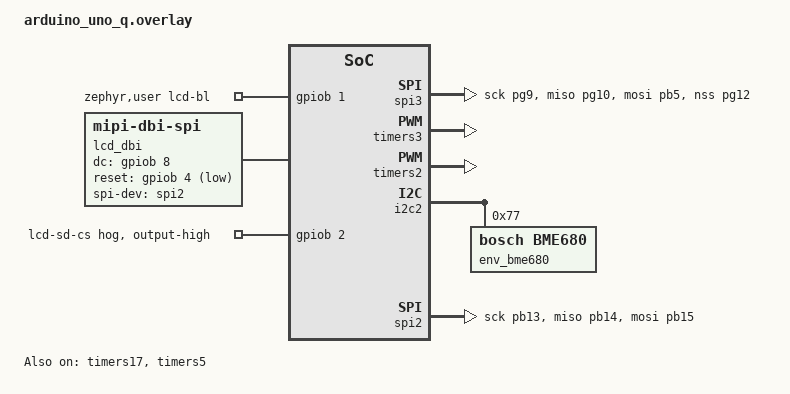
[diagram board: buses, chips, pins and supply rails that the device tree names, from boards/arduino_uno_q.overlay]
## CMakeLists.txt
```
# Copyright (c) 2026 Jim Wyatt
# SPDX-License-Identifier: MIT
cmake_minimum_required(VERSION 3.20.0)
# The BME680's I2C address, into the overlay's preprocessor (see `app env` in
# boards/arduino_uno_q.overlay): 0x77 unless the build says otherwise, with
#   mcu/zbuild.sh -- -DUNOQ_BME680_ADDR=0x76
# A cache variable, so it holds for that build directory until a pristine one.
set(UNOQ_BME680_ADDR 0x77 CACHE STRING "I2C address of the BME680 on i2c2: 0x76 or 0x77")
set_property(CACHE UNOQ_BME680_ADDR PROPERTY STRINGS 0x76 0x77)
if(NOT UNOQ_BME680_ADDR MATCHES "^0x7[67]$")
  message(FATAL_ERROR "UNOQ_BME680_ADDR is ${UNOQ_BME680_ADDR}: a BME680 answers only on 0x76 or 0x77")
endif()
list(APPEND DTS_EXTRA_CPPFLAGS -DUNOQ_BME680_ADDR=${UNOQ_BME680_ADDR})
find_package(Zephyr REQUIRED HINTS $ENV{ZEPHYR_BASE})
project(hybrid_link)
target_sources(app PRIVATE src/main.c src/matrix.c src/bars.c src/status_leds.c src/templog.c
		   src/guard.c src/spi_link.c src/spi_proto.c src/jitter.c src/scope.c src/scope_hw.c)
# `app env`: the pure half is also compiled by mcu/tests/env/.
target_sources(app PRIVATE src/env.c src/env_sensor.c)
# `app lcd`: the pure half is also compiled by mcu/tests/lcd/.
target_sources(app PRIVATE src/lcd.c src/lcd_hw.c)
# app_proto.h holds the MPU <-> MCU contract, shared with mcu/tests/, and
# bars.c, templog.c, spi_proto.c, jitter.c and scope.c are compiled a second time by
# mcu/tests/ to run on the host.
target_include_directories(app PRIVATE include)
```

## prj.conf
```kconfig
# Copyright (c) 2026 Jim Wyatt
# SPDX-License-Identifier: MIT
# --- MPU <-> MCU link -------------------------------------------------------
CONFIG_GPIO=y
CONFIG_SERIAL=y
CONFIG_CONSOLE=y
CONFIG_UART_CONSOLE=y
CONFIG_PRINTK=y

# --- Interactive shell on the same UART the MPU reads (lpuart1) -------------
CONFIG_SHELL=y
CONFIG_SHELL_BACKEND_SERIAL=y
CONFIG_SHELL_PROMPT_UART="unoq:~$ "

# Built-in command sets: poke hardware without rebuilding.
CONFIG_GPIO_SHELL=y
CONFIG_I2C=y
CONFIG_I2C_SHELL=y
CONFIG_DEVICE_SHELL=y
CONFIG_KERNEL_SHELL=y

# --- SMP / MCUmgr over the shell transport ----------------------------------
# One UART serves console + shell + SMP, so SMP is multiplexed over the shell
# rather than claiming its own port.
# MCUMGR_TRANSPORT_SHELL needs these four or it silently disables itself
CONFIG_BASE64=y
CONFIG_CRC=y
CONFIG_NET_BUF=y
CONFIG_ZCBOR=y
CONFIG_MCUMGR=y
CONFIG_MCUMGR_TRANSPORT_SHELL=y
CONFIG_MCUMGR_GRP_OS=y
CONFIG_MCUMGR_GRP_OS_MCUMGR_PARAMS=y
CONFIG_MCUMGR_GRP_OS_TASKSTAT=y
CONFIG_MCUMGR_GRP_STAT=y
CONFIG_STATS=y
CONFIG_STATS_NAMES=y

CONFIG_MAIN_STACK_SIZE=2048

# --- 8x13 LED matrix --------------------------------------------------------
# Charlieplexed on PF0..PF10, refreshed from a TIM17 counter callback at 100kHz.
# See mcu/app/src/matrix.c and boards/arduino_uno_q.overlay.
CONFIG_COUNTER=y

# --- Die temperature: `app temp` --------------------------------------------
# The STM32U585's internal temperature sensor, which Linux has no view of.
# The board file already marks the sensor and adc1 "okay", so this is all it
# takes: SENSOR is the subsystem, and with it on STM32_TEMP defaults to y and
# selects ADC by itself. Both are written out anyway, so that the dependency
# is visible here and a Zephyr that changes a default fails loudly.
CONFIG_SENSOR=y
CONFIG_STM32_TEMP=y
CONFIG_ADC=y
# The board file also enables a Vref and a Vbat sensor, and their drivers
# default to y the moment SENSOR is on. Nothing here reads them.
CONFIG_STM32_VREF=n
CONFIG_STM32_VBAT=n

# --- Persistent storage in storage_partition (128K, previously unused) ------
# Holds one byte: the panel orientation set by `app matrix flip`.
CONFIG_FLASH=y
CONFIG_FLASH_MAP=y
CONFIG_NVS=y
CONFIG_SETTINGS=y
CONFIG_SETTINGS_NVS=y

# --- MCUboot: app becomes a signed image in slot0, updatable over SMP -------
CONFIG_BOOTLOADER_MCUBOOT=y
# The bootloader refuses an image older than the running one (mcu/mcuboot.conf).
# Said here too so the app reports it: SMP's bootloader info says what MCUboot
# will and will not do, and a tool reading it should not have to guess.
CONFIG_MCUBOOT_BOOTLOADER_NO_DOWNGRADE=y
CONFIG_MCUMGR_GRP_IMG=y
CONFIG_IMG_MANAGER=y
CONFIG_STREAM_FLASH=y
CONFIG_IMG_ERASE_PROGRESSIVELY=y
CONFIG_MCUMGR_GRP_OS_BOOTLOADER_INFO=y

# --- The MCU's own watchdog: guard.c, `app reset`, `app hang yes` -----------
# The IWDG, which the board file already marks "okay" and aliases watchdog0.
# With WATCHDOG on, IWDG_STM32 defaults to y. HWINFO is how the reset cause is
# read: RCC's reset flags, through hwinfo_stm32.c. See mcu/app/include/guard.h.
CONFIG_WATCHDOG=y
CONFIG_HWINFO=y

# --- The SPI link to Linux: spi_link.c, spi_proto.h -------------------------
# spi3 is the MCU's end of /dev/spidev0.0, and Linux is the master, so the MCU
# is a slave. The board file already marks spi3 "okay" (the overlay says so
# again, where it can be read). SPI_SLAVE is what lets the driver take
# SPI_OP_MODE_SLAVE; SPI_STM32_INTERRUPT is what lets a slave wait for Linux
# without spinning: polled, the transfer would busy-loop until the master
# clocked, and the shell, the panel and the watchdog's feeder would starve.
CONFIG_SPI=y
CONFIG_SPI_SLAVE=y
CONFIG_SPI_STM32_INTERRUPT=y

# --- Jitter: `app jitter`, jitter.c, jitter.h -------------------------------
# PWM out on D3 from TIM3, the same square wave captured on D2 by TIM2, and
# TIM5 as the 1 MHz clock the ticks are timestamped by (through COUNTER,
# already on for the panel). See the overlay for the timers and pins.
# PWM_CAPTURE is what gives the STM32 PWM driver its input-capture half, and
# with it the timer interrupt the period callback runs from.
CONFIG_PWM=y
CONFIG_PWM_CAPTURE=y

# --- The scope: `app scope`, scope.c, scope_hw.c, scope.h -------------------
# DAC1 and ADC1 on PA4 (A0), paced by TIM6 and TIM7, with the data moved by
# GPDMA1, which the board file already marks "okay"; DMA is what builds its
# driver. The DAC, the timers and the ADC's trigger are set with STM32Cube LL
# from scope_hw.c, because Zephyr's DAC and ADC drivers have no timer trigger
# or DMA burst. CONFIG_DAC stays off: its driver would claim DAC1 too.
CONFIG_DMA=y

# --- The air around the board: `app env`, env.c, env_sensor.c ---------------
# A BME680 breakout on the header's I2C (i2c2), declared in the overlay. With
# a bosch,bme680 node enabled BME680 defaults to y and selects I2C (already on
# above, for the shell); SENSOR is already on for the die temperature. Both
# are written out for the same reason as STM32_TEMP. The firmware boots and
# builds the same with no breakout fitted: the driver's init fails, and
# `app env` reports that instead of a reading.
CONFIG_SENSOR=y
CONFIG_BME680=y

# --- The LCD: `app lcd`, lcd.c, lcd_hw.c, lcd.h -----------------------------
# A 320x480 ST7796S panel on spi2, as the master this time: SPI is already on
# for the link to Linux, and the overlay's zephyr,mipi-dbi-spi node is what
# builds MIPI_DBI_SPI. DISPLAY is the menu the ST7796S driver sits under; the
# driver itself, and GPIO_HOGS for the SD card's chip select, follow from the
# devicetree.
CONFIG_DISPLAY=y
```

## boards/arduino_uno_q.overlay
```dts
/*
 * Copyright (c) 2026 Jim Wyatt
 * SPDX-License-Identifier: MIT
 *
 * Route the Zephyr console to lpuart1 (PG7/PG8, with RTS/CTS) - the UART
 * physically wired to the Linux MPU, where it appears as /dev/ttyHS1.
 * usart1 (PB6/PB7) is the Arduino-header UART and is NOT the MPU link.
 */
/ {
	chosen {
		zephyr,console = &lpuart1;
		zephyr,shell-uart = &lpuart1;
	};
};

/*
 * The 8x13 LED panel. Upstream Zephyr's board does not describe it at all -
 * the wiring is only recorded in Arduino's core - so both halves are declared
 * here: the port the 104 LEDs are charlieplexed across, and the timer that
 * paces the refresh. See mcu/app/src/matrix.c.
 */

/* PF0..PF10 carry the panel. Enabling the port is what turns its clock on;
 * matrix.c then drives MODER/BSRR directly, because the pins have to change
 * direction every 10us. Nothing else in this build may claim PF0..PF10.
 */
&gpiof {
	status = "okay";
};

/* TIM17 is otherwise unused here, and is the timer Arduino's own firmware
 * picks for this job. Prescaler 4 divides the timer clock by 5, which leaves
 * counter_us_to_ticks() plenty of resolution for a 10us slot.
 */
&timers17 {
	status = "okay";
	st,prescaler = <4>;

	counter_matrix: counter {
		status = "okay";
	};
};

/*
 * The die temperature sensor behind `app temp` needs nothing here: Zephyr's
 * board file already sets die_temp and the ADC it is read through (adc1,
 * internal channel 19) to "okay". What it also enables is adc4, for a Vbat
 * sensor this firmware does not build (CONFIG_STM32_VBAT=n in prj.conf).
 *
 * Turning the ADC driver on brings up every enabled ADC at boot, and on this
 * chip that bring-up waits for the converter's regulator in a loop with no
 * timeout. One such wait is the price of the temperature; a second, for a
 * converter nothing reads, is only another way for the board not to boot.
 */
&adc4 {
	status = "disabled";
};

/*
 * The SPI link to Linux. spi3's four pins - SCK PG9, MISO PG10, MOSI PB5, NSS
 * PG12 - are wired to the MPU's spi@4a94000, which Linux shows as
 * /dev/spidev0.0; docs/reference/hardware.md has the experiment that found
 * them. Linux is the master. The board file already enables spi3 with exactly
 * this pinctrl; it is restated here because spi_link.c depends on it, and on
 * NSS being the hardware pin rather than a GPIO chip select.
 */
&spi3 {
	status = "okay";
	pinctrl-0 = <&spi3_sck_pg9 &spi3_miso_pg10 &spi3_mosi_pb5 &spi3_nss_pg12>;
	pinctrl-names = "default";
};

/*
 * `app jitter` (main.c, jitter.h): three general-purpose timers, none of
 * which the board file or anything above enables. All three count the APB1
 * timer clock, 160 MHz (sysclk 160 MHz, APB1 prescaler 1), divided by
 * st,prescaler + 1.
 *
 * Header pins, from Zephyr's arduino_r3_connector.dtsi: D2 is PB3 and D3 is
 * PB0. Neither is in the panel's PF0..PF10, spi3's PG9/PG10/PB5/PG12,
 * lpuart1's PG5..PG8, usart1's PB6/PB7, i2c2's PB10/PB11, spi2's
 * PB13/PB14/PB15/PB9, or the status LEDs' PH10..PH15. PB3 comes out of reset
 * as JTDO/TRACESWO; debugging here is SWD on PA13/PA14, which does not use
 * it.
 */

/* TIM5: a free-running 32-bit counter at 1 MHz, so one count is one
 * microsecond and the counter wraps every 71.6 minutes. The tick timestamps.
 * The kernel's own cycle counter is LPTIM1 on the 32768 Hz crystal (the
 * board's stm32_lp_tick_source), about 30 us a count. */
&timers5 {
	status = "okay";
	st,prescaler = <159>;

	counter_jitter: counter {
		status = "okay";
	};
};

/* TIM3: PWM out on D3 (PB0, TIM3_CH3). TIM3 is 16-bit, and counting at 1 MHz
 * its longest period is 65535 us, which is APP_JITTER_PWM_HZ_MIN's reason. */
&timers3 {
	status = "okay";
	st,prescaler = <159>;

	pwm_jitter_out: pwm {
		status = "okay";
		pinctrl-0 = <&tim3_ch3_pb0>;
		pinctrl-names = "default";
	};
};

/* TIM2: PWM capture in on D2 (PB3, TIM2_CH2), at the full 160 MHz so a
 * period is measured to 6.25 ns. TIM2 is 32-bit, so a period up to 26.8 s
 * fits. Capture on channel 2 uses the slave-mode controller to reset the
 * counter on each rising edge, and channel 1 as its pair, internally: only
 * PB3 is taken. */
&timers2 {
	status = "okay";
	st,prescaler = <0>;

	pwm_jitter_in: pwm {
		status = "okay";
		pinctrl-0 = <&tim2_ch2_pb3>;
		pinctrl-names = "default";
	};
};

/* Without the jumper, D2 is held low rather than left to float, so the
 * capture sees no edges and the pwm histogram stays empty instead of filling
 * with noise. */
&tim2_ch2_pb3 {
	bias-pull-down;
};

/*
 * `app scope` (scope.h, scope_hw.c): a wave out of A0 and sampled back in.
 * Nothing here changes for it; this says what it takes, and why the board
 * file already has it.
 *
 *   PA4   header A0, and both dac1_out1_pa4 (&dac1's pinctrl) and
 *         adc1_in9_pa4 (&adc1's). The ADC driver puts it in analog mode at
 *         boot, which is also what the DAC needs. Not in the panel's
 *         PF0..PF10, spi3's PG9/PG10/PB5/PG12, lpuart1's PG5..PG8, usart1's
 *         PB6/PB7, i2c2's PB10/PB11, spi2's PB13/PB14/PB15/PB9, the status
 *         LEDs' PH10..PH15, or jitter's PB0/PB3.
 *   dac1  "okay" in the board file. CONFIG_DAC is off, so no driver binds
 *         it, and scope_hw.c drives it with LL.
 *   adc1  shared with the die temperature, which the ADC driver reads; a
 *         capture borrows it under adc1_lock (see scope_hw.c).
 *   TIM6  the ADC's trigger; TIM7 the DAC's. Basic timers, left "disabled"
 *         here because no Zephyr driver is to have them: scope_hw.c turns on
 *         their clocks from their nodes' `clocks` and programs them with LL.
 *         Not TIM2, TIM3 or TIM5 (jitter) or TIM17 (the panel).
 *   gpdma1  "okay" in the board file; channels 14 (ADC) and 15 (DAC).
 */

/*
 * `app env` (env.h, env_sensor.c): a BME680 breakout on the header's I2C,
 * i2c2, which Zephyr's board file already enables at 400 kHz on SCL PB10 and
 * SDA PB11 - the two pins past AREF, also labeled SCL and SDA on the board.
 *
 * The part answers on 0x76 with its SDO pin low and 0x77 with it high. This
 * declares 0x77, the address Adafruit's and SparkFun's breakouts ship at and
 * Bosch's and Adafruit's libraries default to. Pimoroni's, and many of the
 * unbranded boards, tie SDO low instead and answer on 0x76; several move with
 * a solder jumper. `i2c scan i2c@40005800` in the MCU's shell says which.
 *
 * For 0x76, build with the CMake variable mcu/app/CMakeLists.txt passes in
 * here, which sticks in that build directory until a pristine build:
 *
 *   mcu/zbuild.sh -- -DUNOQ_BME680_ADDR=0x76
 *
 * Anything but the two addresses the part has stops the build. With no
 * breakout fitted the driver's init fails, the device is not ready, and
 * `app env` says so; nothing else changes.
 */
#ifndef UNOQ_BME680_ADDR
#define UNOQ_BME680_ADDR 0x77
#endif

&i2c2 {
#if UNOQ_BME680_ADDR == 0x76
	env_bme680: bme680@76 {
		compatible = "bosch,bme680";
		reg = <0x76>;
	};
#elif UNOQ_BME680_ADDR == 0x77
	env_bme680: bme680@77 {
		compatible = "bosch,bme680";
		reg = <0x77>;
	};
#else
#error "UNOQ_BME680_ADDR: a BME680 answers only on 0x76 or 0x77"
#endif
};

/*
 * `app lcd` (lcd.h, lcd_hw.c): a Waveshare 3.5" 320x480 touch LCD on the
 * header's SPI, spi2, with the wiring #225 records:
 *
 *   SCLK D13 PB13, MISO D12 PB14, MOSI D11 PB15   spi2, the board file's pins
 *   LCD_CS  D10 PB9    chip select, as a GPIO (below)
 *   LCD_DC  D9  PB8    data/command
 *   LCD_RST D8  PB4    the panel controller's reset
 *   SD_CS   D7  PB2    the module's microSD slot, held deselected
 *   LCD_BL  D6  PB1    the backlight, on or off
 *   TP_SDA/TP_SCL      i2c2, shared with the BME680; touch is a later step
 *   INT D4 PA12, RST D5 PA11   the touch controller's, not claimed here yet
 *
 * None of these is in the panel's PF0..PF10, spi3's PG9/PG10/PB5/PG12,
 * lpuart1's PG5..PG8, usart1's PB6/PB7, i2c2's PB10/PB11, the status LEDs'
 * PH10..PH15, jitter's PB0/PB3 or the scope's PA4. PB4 comes out of reset as
 * NJTRST, which SWD does not use. PA11/PA12 are the USB pins, and the board
 * file leaves USB disabled.
 */

/* The board file gives spi2 its hardware NSS on PB9. That pin drops between
 * transfers, and reading a register is two of them - the command, then the
 * answer - which the controller only accepts with its select held low across
 * both. So NSS leaves the pinctrl, and D10 becomes a GPIO the SPI driver
 * holds for as long as it is asked to. */
&spi2 {
	pinctrl-0 = <&spi2_sck_pb13 &spi2_miso_pb14 &spi2_mosi_pb15>;
	cs-gpios = <&gpiob 9 GPIO_ACTIVE_LOW>;
};

/* The microSD slot shares the bus. Its select is driven high from GPIO init
 * on, before anything uses spi2, so the card never answers along with the
 * panel. A hog, because nothing reads the slot yet. */
&gpiob {
	sd_cs_hog: sd-cs-hog {
		gpio-hog;
		gpios = <2 GPIO_ACTIVE_HIGH>;
		output-high;
		line-name = "lcd-sd-cs";
	};
};

/ {
	zephyr,user {
		lcd-bl-gpios = <&gpiob 1 GPIO_ACTIVE_HIGH>;
	};

	lcd_dbi: lcd-dbi {
		compatible = "zephyr,mipi-dbi-spi";
		spi-dev = <&spi2>;
		dc-gpios = <&gpiob 8 GPIO_ACTIVE_HIGH>;
		reset-gpios = <&gpiob 4 GPIO_ACTIVE_LOW>;
		#address-cells = <1>;
		#size-cells = <0>;

		/* Started from `app lcd on`, not at boot: the driver's init
		 * pulses reset and waits 200 ms, and writes to a panel it has
		 * no way to see. Deferred, a board with no LCD boots exactly as
		 * it did, and `app lcd id` can ask the controller what it is
		 * before the driver has said anything to it.
		 *
		 * 10 MHz on jumper wires. The part takes writes far faster; how
		 * much faster these wires carry is for a later step to measure.
		 * The gamma, power and timing values are NXP's for their
		 * 320x480 ST7796S (boards/shields/lcd_par_s035) - a starting
		 * point, not this panel's tuning.
		 *
		 * madctl 0x40 is portrait, mirrored in X as these panels are
		 * mounted, in RGB order. With MADCTL's BGR bit clear the driver
		 * asks for RGB565X, red's byte first, which is the order the
		 * controller reads off the wire. A BGR panel then shows red as
		 * blue; `app lcd cmd 36 48` tries BGR without a rebuild, and the
		 * lasting fix is madctl 0x48 with rgb-is-inverted, which keeps
		 * the bytes in the same order. */
		lcd_panel: st7796s@0 {
			compatible = "sitronix,st7796s";
			reg = <0>;
			mipi-max-frequency = <10000000>;
			mipi-mode = "MIPI_DBI_MODE_SPI_4WIRE";
			width = <320>;
			height = <480>;
			invert-mode = "1-dot";
			frmctl1 = [80 10];
			bpc = [1f 50 00 20];
			dfc = [8a 07 3b];
			pwr1 = [80 64];
			pwr2 = <0x13>;
			pwr3 = <0xa7>;
			vcmpctl = <0x09>;
			doca = [40 8a 00 00 29 19 a5 33];
			pgc = [f0 06 0b 07 06 05 2e 33 47 3a 17 16 2e 31];
			ngc = [f0 09 0d 09 08 23 2e 33 46 38 13 13 2c 32];
			madctl = <0x40>;
			color-invert;
			zephyr,deferred-init;
		};
	};
};
```

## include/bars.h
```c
/*
 * Copyright (c) 2026 Jim Wyatt
 * SPDX-License-Identifier: MIT
 *
 * Turning percentages into pixels.
 *
 * Deliberately free of Zephyr and of hardware: this is arithmetic, so it is
 * compiled straight into mcu/tests/bars/ and runs on the host. The half of the
 * feature that cannot be tested that way - charlieplexing PF0..PF10 from a
 * timer ISR - lives in matrix.h and stays as thin as possible.
 */
#ifndef BARS_H
#define BARS_H

#include <stdbool.h>
#include <stdint.h>

#include "app_proto.h"

/* Where n bars sit on the 13-column panel.
 *
 * Bars are uniform width with a one-column gap, and the whole group is
 * centered: leftovers show up as margin, never as one fatter bar.
 */
struct app_bars_layout {
	int width; /* columns per bar, >= 1 */
	int left;  /* blank columns before the first bar */
};

/* Compute the layout for n bars. Returns false (and leaves *out alone) if n is
 * outside 1..APP_BARS_MAX. */
bool app_bars_layout(int n, struct app_bars_layout *out);

/* Which column the i-th bar starts at, given a layout. */
static inline int app_bars_column(const struct app_bars_layout *l, int i)
{
	return l->left + i * (l->width + 1);
}

/*
 * Render n percentages as vertical bars into a APP_MATRIX_LEDS grayscale
 * framebuffer (one byte per LED, 0..APP_MATRIX_MAX_LEVEL), clearing it first.
 *
 * Height uses the grayscale as a vernier: a bar is whole rows at full
 * brightness plus one partial row dimmed in proportion to the remainder. Eight
 * rows would otherwise quantize the reading to 12.5% steps, which for a CPU
 * meter is the difference between "idle" and "a core is busy".
 *
 * rotate180 mirrors the panel for a board viewed from the other side. It is a
 * true 180-degree rotation, so bars grow the other way *and* run right-to-left,
 * which is what you want if you turned the board around rather than the image.
 *
 * pct values outside 0..APP_BARS_PCT_MAX are clamped, and n outside
 * 1..APP_BARS_MAX renders an empty frame - a display that shows nothing is a
 * better failure than one that shows a wrong number confidently.
 */
void app_bars_render(const uint8_t *pct, int n, bool rotate180, uint8_t *frame);

#endif /* BARS_H */
```

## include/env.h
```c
/*
 * Copyright (c) 2026 Jim Wyatt
 * SPDX-License-Identifier: MIT
 *
 * The air around the board: a BME680 on the header's I2C, read by `app env`.
 *
 * The part is Bosch's temperature, humidity, pressure and gas sensor, on a
 * breakout wired to SDA/SCL beside AREF (i2c2, PB11/PB10). Zephyr's driver
 * does the reading and the compensation; what is here is what the firmware
 * makes of the answer.
 *
 * TWO HALVES
 * ----------
 * env.c is pure: four sensor_values in, one reading out, and the reading to
 * the line `app env` prints. No device, no bus, no kernel object, so
 * mcu/tests/env/ runs it on native_sim. Zephyr has no emulator for this part,
 * so that is as close to the sensor as a test gets before there is one.
 *
 * env_sensor.c is the other half: the devices, the read, and the shell
 * command. It is only built into the firmware, and only proven on a board.
 *
 * The line's format is APP_ENV_FMT in app_proto.h.
 */

#ifndef ENV_H
#define ENV_H

#include <stddef.h>
#include <stdint.h>
#include <zephyr/drivers/sensor.h>

struct shell;

/* One reading, in the integer units `app env` prints. The driver's own
 * resolution is 0.01 C, 0.001 %RH, 1 Pa and 1 ohm, so none of these loses
 * anything it has. */
struct env_reading {
	int32_t temp_mc;        /* millidegrees Celsius */
	uint32_t humidity_mpct; /* thousandths of a percent relative humidity */
	uint32_t pressure_pa;   /* pascals */
	uint32_t gas_ohm;       /* the gas sensor's hot plate, in ohms */
};

/* The four channels as the driver hands them back - temperature in degrees,
 * humidity in percent, pressure in kilopascals, gas resistance in ohms - into
 * a reading. Returns 0, or -ERANGE for a value no BME680 can give: negative
 * humidity, pressure or resistance, humidity over 100 %, or a number too big
 * for its field. *out is untouched on failure, so a bad read is never half a
 * reading. */
int env_from_values(const struct sensor_value *temp, const struct sensor_value *humidity,
		    const struct sensor_value *press, const struct sensor_value *gas,
		    struct env_reading *out);

/* The reading as the APP_ENV_FMT line, NUL-terminated, without a newline.
 * Returns its length, or -ENOSPC if buf is too small for all of it (buf then
 * holds nothing). APP_ENV_LINE_MAX always fits. */
int env_format(const struct env_reading *r, char *buf, size_t len);

/* The longest line env_format() can write, with its terminator: every field
 * at its widest. */
#define APP_ENV_LINE_MAX 96

/* `app env` (env_sensor.c). */
int cmd_app_env(const struct shell *sh, size_t argc, char **argv);

/* One boot line saying whether the driver found the part, and at which
 * address, so the console shows it without anybody having to ask. */
void env_report(void);

#endif /* ENV_H */
```

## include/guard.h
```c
/*
 * Copyright (c) 2026 Jim Wyatt
 * SPDX-License-Identifier: MIT
 *
 * The MCU's own watchdog, and why the MCU last reset.
 *
 * LED 4 is the MCU watching Linux: it turns red when the MPU stops talking.
 * This is the other direction - something that resets the MCU when the MCU
 * itself stops working - and the record afterwards of why it reset, which is
 * what lets Linux tell a watchdog reset from a power cut or a firmware update.
 *
 * WHAT IS WATCHED
 * ---------------
 * The STM32's independent watchdog (IWDG) resets the chip unless it is fed
 * at least once every GUARD_TIMEOUT_MS. It runs from its own 32 kHz LSI
 * oscillator, so a stuck CPU clock does not stop it, and once started nothing
 * but a reset stops it.
 *
 * It is fed from one place: the status-LED beat, four times a second on the
 * system workqueue (status_leds.c). And only when the LED panel's refresh has
 * moved on since the previous beat, or the panel is off on purpose. So the
 * feed stops, and the chip resets eight seconds later, if:
 *
 *   - the system workqueue is stuck: a work item that never returns, or a
 *     thread that holds the scheduler locked (that is `app hang yes`)
 *   - the panel's timer interrupt has stopped while the panel is meant to be
 *     on: interrupts locked out, or the timer stopped behind matrix.c's back
 *
 * What it does not watch is the shell thread on its own. A shell command that
 * spins in a preemptible thread does not starve the workqueue, which is
 * cooperative and runs ahead of it, so the dog is still fed. LED 4 going red
 * is how that one shows: the MCU stops answering, and the MPU stops being
 * answered.
 *
 * The decision of whether to feed, and the names `app reset` prints, are the
 * two inline functions at the bottom. They touch no hardware, so
 * mcu/tests/guard/ runs them on the host.
 */
#ifndef GUARD_H
#define GUARD_H

#include <stdbool.h>
#include <stddef.h>
#include <stdint.h>
#include <string.h>

#include <zephyr/drivers/hwinfo.h>

/* THE TIMEOUT: 8 SECONDS
 * ----------------------
 * Long enough for the longest stall this firmware does on purpose, and short
 * enough that a hung MCU is back before anyone has finished wondering why the
 * panel froze.
 *
 * The longest legitimate stalls are flash operations, and every one is
 * milliseconds. The flash is 8 KiB sectors, and erasing one takes a few
 * milliseconds on this part. A FOTA upload erases slot 1 a sector at a time as
 * the image arrives (CONFIG_IMG_ERASE_PROGRESSIVELY), on the SMP thread, so
 * the workqueue still runs between sectors. Erasing the whole 416 KiB slot at
 * once is 52 sectors, a fraction of a second. A settings write (`app matrix
 * flip`) may make NVS erase one sector of its own. The 115200 link is the
 * slowest thing on the board, and the longest reply, a 32-sample temperature
 * batch, is about a tenth of a second. Eight seconds is more than ten times
 * the worst of these together.
 *
 * And it is in range. The IWDG counts LSI ticks (32 kHz) through a prescaler
 * of 4 to 1024 into a 12-bit reload, so it reaches from 125 us to about 131 s.
 * Zephyr's driver turns 8000 ms into prescaler 64 and reload 3999: 2 ms a
 * count. The LSI is an RC oscillator, good to a few percent, so the real
 * timeout is about 8 s, not exactly 8 s, which is why nothing here is cut
 * close to it.
 *
 * Compare Linux's own watchdog (provision/80-watchdog.sh): 30 s, because a
 * swapping Linux can legitimately stall for seconds. The MCU has no swap and
 * no disk, and a stall of eight seconds there is a bug.
 */
#define GUARD_TIMEOUT_MS 8000

/* The longest reset line guard_reset_names() can produce, with its NUL: every
 * name in the table plus "unknown", comma-separated. mcu/tests/guard/ checks
 * that every bit set at once still fits. */
#define GUARD_RESET_NAMES_MAX 160

/** Read why the MCU last reset, keep it for `app reset`, clear it, and arm the
 *  watchdog. Called once, at the top of main().
 *
 *  Returns 0 with the watchdog armed, or a negative errno if it is not: no
 *  device, or the driver refused the timeout. Everything else still runs
 *  either way - a board without its watchdog is no worse off than before this
 *  existed - and main() says which on the console.
 */
int guard_init(void);

/** Called on every status-LED beat. Feeds the watchdog if the panel's refresh
 *  has moved on since the last beat, or the panel is off. */
void guard_tick(void);

/** The hwinfo reset-cause bits read at boot, or 0 if they could not be read. */
uint32_t guard_reset_cause(void);

/** True if guard_init() read the reset cause; false if hwinfo could not. */
bool guard_reset_cause_known(void);

/* --- no hardware below this line ----------------------------------------- */

/** Feed on this beat?
 *
 * `panel_on` is whether the panel's refresh timer is meant to be running.
 * When it is not - before the first frame, or after `app matrix off` - the
 * sweep count stands still on purpose and says nothing, so the beat itself is
 * the evidence: it ran, so the workqueue is alive.
 *
 * When it is, the count must have moved since the previous beat. A beat is
 * 250 ms and a sweep 1.04 ms, so a healthy panel is about 240 sweeps further
 * on each time. Compared with != rather than >, so the 32-bit count wrapping
 * after 51 days is just another change.
 *
 * One beat can miss its feed when the panel has only just been switched on
 * and has not finished a sweep yet. The next beat feeds, and one missed beat
 * in thirty-two is nowhere near the timeout.
 */
static inline bool guard_should_feed(bool panel_on, uint32_t sweeps, uint32_t last_sweeps)
{
	return !panel_on || sweeps != last_sweeps;
}

/** One reset-cause bit and the word `app reset` prints for it. */
struct guard_reset_name {
	uint32_t bit;
	const char *name;
};

/* In the order they are printed: the cause that explains the reset first,
 * and "pin" last.
 *
 * Last because on the STM32 nearly every reset is also a pin reset. The chip
 * drives its own NRST pin low whatever started the reset, so RCC records the
 * pin as well: a watchdog reset reads "watchdog,pin" and a software reset
 * "software,pin". Only "pin" alone means the reset line really was pulled
 * from outside - on this board, Linux toggling it, or the debugger.
 *
 * And "power_on" is not what a power-on prints here. The STM32U5 has no
 * power-on flag of its own; its brownout flag is set when the supply comes
 * up, so applying power reads "brownout,pin". The name stays in the table for
 * the parts that do have one.
 *
 * Names are lowercase words joined by underscores: no spaces, no '=', no ','.
 * python/tests/test_contract.py reads this table, and unoq.mcu.RESET_CAUSES
 * must list the same names.
 */
static const struct guard_reset_name guard_reset_table[] = {
	{RESET_WATCHDOG, "watchdog"},
	{RESET_CPU_LOCKUP, "lockup"},
	{RESET_SOFTWARE, "software"},
	{RESET_SECURITY, "security"},
	{RESET_BROWNOUT, "brownout"},
	{RESET_POR, "power_on"},
	{RESET_LOW_POWER_WAKE, "low_power_wake"},
	{RESET_DEBUG, "debug"},
	{RESET_PARITY, "parity"},
	{RESET_PLL, "pll"},
	{RESET_CLOCK, "clock"},
	{RESET_HARDWARE, "hardware"},
	{RESET_USER, "user"},
	{RESET_TEMPERATURE, "temperature"},
	{RESET_BOOTLOADER, "bootloader"},
	{RESET_FLASH, "flash"},
	{RESET_PIN, "pin"},
};

/* No bits set. Distinct from "unknown", which is a bit this table has no
 * name for. */
#define GUARD_RESET_NONE    "none"
#define GUARD_RESET_UNKNOWN "unknown"

/** Append `name` to the list in `buf`, which holds `n` characters, if it fits
 *  whole with its comma and the NUL. Returns the new length. */
static inline size_t guard_append_name(char *buf, size_t len, size_t n, const char *name)
{
	size_t w = strlen(name);
	size_t sep = n > 0 ? 1 : 0;

	if (n + sep + w + 1 > len) {
		return n;
	}
	if (sep) {
		buf[n++] = ',';
	}
	memcpy(&buf[n], name, w + 1);
	return n + w;
}

/** Write the names of the bits set in `cause` into `buf`, comma-separated, in
 *  table order: "watchdog,pin". GUARD_RESET_NONE if no bit is set, and
 *  GUARD_RESET_UNKNOWN once, last, for any bits the table has no name for.
 *
 *  Always NUL-terminates a buffer of at least one byte; a name that does not
 *  fit is left out whole rather than cut. GUARD_RESET_NAMES_MAX always fits.
 *  Returns the length written.
 */
static inline size_t guard_reset_names(uint32_t cause, char *buf, size_t len)
{
	size_t n = 0;
	uint32_t named = 0;

	if (len == 0) {
		return 0;
	}
	buf[0] = '\0';

	for (size_t i = 0; i < sizeof(guard_reset_table) / sizeof(guard_reset_table[0]); i++) {
		named |= guard_reset_table[i].bit;
		if ((cause & guard_reset_table[i].bit) != 0) {
			n = guard_append_name(buf, len, n, guard_reset_table[i].name);
		}
	}
	if ((cause & ~named) != 0) {
		n = guard_append_name(buf, len, n, GUARD_RESET_UNKNOWN);
	}
	if (cause == 0) {
		n = guard_append_name(buf, len, n, GUARD_RESET_NONE);
	}
	return n;
}

#endif /* GUARD_H */
```

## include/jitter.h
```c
/*
 * Copyright (c) 2026 Jim Wyatt
 * SPDX-License-Identifier: MIT
 *
 * Jitter, measured: the MCU times what Linux schedules.
 *
 * The course says the MCU is there because Linux cannot keep time. This is
 * where that stops being asserted. Linux sends `app jitter tick` on a fixed
 * schedule, and the MCU writes down how far each arrival was from where the
 * schedule said it would be. Beside it, the same record for a square wave
 * the MCU's own timers make and measure, with no software in the path: what
 * "keeping time" looks like when it is done in hardware.
 *
 * TWO HALVES
 * ----------
 * This file is the record: a histogram of deviations (struct jitter_hist)
 * and the bookkeeping that turns arrival timestamps into deviations (struct
 * jitter_ticker). It touches no hardware and no kernel object but a
 * spinlock, so mcu/tests/jitter/ runs it on native_sim with made-up
 * timestamps, wraparound included.
 *
 * The clocks are main.c's: TIM5 as a 1 MHz free-running counter for the
 * tick timestamps, TIM3 for the PWM out on D3 and TIM2's capture on D2. See
 * boards/arduino_uno_q.overlay, and app_proto.h for the shell formats and
 * the bins.
 */

#ifndef JITTER_H
#define JITTER_H

#include <stdbool.h>
#include <stddef.h>
#include <stdint.h>
#include <zephyr/spinlock.h>

#include "app_proto.h"

/* Deviations of measured intervals from an expected period. Added to from an
 * interrupt (the capture callback) as well as from the shell's thread, hence
 * the lock. About 80 bytes. */
struct jitter_hist {
	uint32_t bins[APP_JITTER_BINS];
	uint32_t n;
	int32_t min_ns;
	int32_t max_ns;
	int64_t sum_ns;
	struct k_spinlock lock;
};

/* What jitter_hist_read() copies out: one consistent look at a histogram. */
struct jitter_summary {
	uint32_t bins[APP_JITTER_BINS];
	uint32_t n;
	int32_t min_ns;
	int32_t max_ns;
	int32_t mean_ns; /* sum / n, rounded toward zero; 0 when n is 0 */
};

/* The tick half: arrivals on a microsecond counter, against an armed period. */
struct jitter_ticker {
	struct jitter_hist hist;
	uint32_t period_us; /* what each interval is held to; kept after a stop */
	uint32_t last_us;   /* the previous arrival, if have_last */
	bool armed;
	bool have_last;
};

/** The bin a deviation of `dev_ns` goes in, 0..APP_JITTER_BINS - 1, by the
 *  rule in app_proto.h. */
int jitter_bin(int32_t dev_ns);

/** `ns` clamped to the range of an int32. */
int32_t jitter_clamp_ns(int64_t ns);

/** Empty a histogram, under its lock, so it is safe while the capture
 *  interrupt is adding to it. One that has never been used - static, so
 *  zeroed - is already empty and needs no call. */
void jitter_hist_clear(struct jitter_hist *h);

/** Count one deviation, clamped as jitter_clamp_ns() does. */
void jitter_hist_add(struct jitter_hist *h, int64_t dev_ns);

/** Copy a histogram out, all of it under the lock. */
struct jitter_summary jitter_hist_read(struct jitter_hist *h);

/** Write the bins as `a,b,...` - the bins= value of APP_JITTER_FMT - into
 *  buf. Returns the length written, or -ENOSPC if buf is too small, in which
 *  case buf holds an empty string. JITTER_BINS_STR_MAX is always enough. */
#define JITTER_BINS_STR_MAX (APP_JITTER_BINS * 11)
int jitter_format_bins(const uint32_t *bins, char *buf, size_t cap);

/** Set the expected period, empty the histogram, forget the last arrival and
 *  take ticks: the next one starts a new run rather than closing an interval
 *  that began before the arm. */
void jitter_ticker_arm(struct jitter_ticker *t, uint32_t period_us);

/** Take no more ticks. The histogram and the period stay, to be read; the
 *  next arm clears them. */
void jitter_ticker_stop(struct jitter_ticker *t);

/** One arrival at `now_us` on the free-running counter. The first after
 *  arming only sets the start; each after it adds one deviation. The counter
 *  is 32 bits and wraps every 71.6 minutes; the interval is taken modulo
 *  2^32, so one wrap between two ticks is harmless.
 *  Returns 0, or -EAGAIN if not armed (nothing recorded). */
int jitter_ticker_tick(struct jitter_ticker *t, uint32_t now_us);

#endif /* JITTER_H */
```

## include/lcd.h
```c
/*
 * Copyright (c) 2026 Jim Wyatt
 * SPDX-License-Identifier: MIT
 *
 * A 3.5" 320x480 touch LCD on the header's SPI, run by `app lcd` (#225).
 *
 * The module is Waveshare's, wired to spi2 on D10..D13 with its control lines
 * on D6..D9 - boards/arduino_uno_q.overlay has the pins. Its panel controller
 * is most likely a Sitronix ST7796S, which Zephyr drives over MIPI DBI on
 * SPI, and its touch controller a FocalTech FT6336U at 0x38 on i2c2, which
 * this step does not use yet.
 *
 * TWO HALVES
 * ----------
 * lcd.c is pure: a color's name to the 16 bits the panel takes, those bits
 * to bytes on the wire, the ID registers' raw bytes to a controller's name,
 * and the lines `app lcd` prints. mcu/tests/lcd/ runs it on native_sim.
 *
 * lcd_hw.c is the other half: the bus, the driver, the backlight and the
 * shell command. It is only built into the firmware, and only proven on a
 * board.
 *
 * The lines' formats are APP_LCD_* in app_proto.h.
 */

#ifndef LCD_H
#define LCD_H

#include <stdbool.h>
#include <stddef.h>
#include <stdint.h>

struct shell;

/* The controller's commands this file uses by number. */
#define LCD_CMD_RDDID 0x04 /* read display ID: a dummy bit, then 24 bits */
#define LCD_CMD_RDID4 0xD3 /* read ID4: a dummy byte, then 00 77 96 on an ST7796S */

/* Bytes read back after each ID command. Four, so that whichever dummy the
 * part puts first - a bit, or a whole byte - the ID still fits. */
#define LCD_ID_LEN 4

struct lcd_id {
	uint8_t rddid[LCD_ID_LEN];
	uint8_t id4[LCD_ID_LEN];
};

/* A color by name (black, white, red, green, blue, yellow, cyan, magenta)
 * or as six hex digits, rrggbb, into RGB565: red in the top five bits, then
 * six of green, then five of blue. Anything else is false, and *out is
 * untouched. */
bool lcd_parse_color(const char *s, uint16_t *out);

/* One or two hex digits, nothing else, into a byte: `app lcd cmd`'s
 * arguments. */
bool lcd_parse_byte(const char *s, uint8_t *out);

/* RGB565 as the two bytes the bus carries, in the order the driver says it
 * wants: big-endian (red first) when msb_first, as PIXEL_FORMAT_RGB_565X
 * asks, little-endian otherwise. */
void lcd_pack565(uint16_t c, bool msb_first, uint8_t out[2]);

/* Where a 16-bit ID starts in raw, counted in bits from the first byte's top
 * bit, or -1 if it is not there. Read with 8-bit words, a part that clocks
 * out one dummy bit first leaves its ID straddling bytes; this finds it at
 * any offset rather than guessing which dummy the part uses. */
int lcd_id_find(const uint8_t *raw, size_t n, uint16_t id);

/* Which controller answered: a name, "none" when every byte of both reads is
 * the same (MISO idle high or low - nothing drove it), or "unknown". *dummy
 * is lcd_id_find()'s answer for the ID that matched, or -1. */
const char *lcd_id_name(const struct lcd_id *id, int *dummy);

/* The APP_LCD_ID_FMT line, NUL-terminated, without a newline. Returns its
 * length, or -ENOSPC if buf is too small (buf then holds nothing).
 * APP_LCD_LINE_MAX always fits. */
int lcd_id_format(const struct lcd_id *id, char *buf, size_t len);

/* The longest line lcd.c can write, with its terminator. */
#define APP_LCD_LINE_MAX 80

/* `app lcd` and its subcommands (lcd_hw.c). */
int cmd_app_lcd_id(const struct shell *sh, size_t argc, char **argv);
int cmd_app_lcd_on(const struct shell *sh, size_t argc, char **argv);
int cmd_app_lcd_off(const struct shell *sh, size_t argc, char **argv);
int cmd_app_lcd_fill(const struct shell *sh, size_t argc, char **argv);
int cmd_app_lcd_cmd(const struct shell *sh, size_t argc, char **argv);

/* At boot: the backlight off, and one line saying the panel is there to be
 * started. */
void lcd_report(void);

#endif /* LCD_H */
```

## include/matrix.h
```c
/*
 * Copyright (c) 2026 Jim Wyatt
 * SPDX-License-Identifier: MIT
 *
 * The 8x13 LED panel.
 *
 * Everything hardware about the matrix is behind these five calls, so the
 * interesting half of the feature (bars.h) stays testable on the host.
 */
#ifndef MATRIX_H
#define MATRIX_H

#include <stdbool.h>
#include <stdint.h>

/* Claim the GPIO port and the refresh timer. Does not light anything and does
 * not start the ISR - the first matrix_draw() does that. Returns 0, or a
 * negative errno if the devicetree does not give us what we need. */
int matrix_init(void);

/* Show a frame: APP_MATRIX_LEDS bytes, one brightness level (0..
 * APP_MATRIX_MAX_LEVEL) per LED, row-major. The buffer is copied. */
void matrix_draw(const uint8_t *levels);

/* Stop refreshing and release the pins. matrix_draw() restarts it. */
void matrix_off(void);

/*
 * Completed refresh sweeps since boot - one per pass over all 104 LEDs.
 *
 * This is the only way to tell from the far end of a serial cable that the
 * panel is really being refreshed: nothing else about a charlieplexed display
 * is observable without looking at it. A stalled count means the timer never
 * started; a count climbing at ~962/s means the ISR is running to schedule.
 */
uint32_t matrix_sweeps(void);

/*
 * Is the refresh timer meant to be running? True from the first matrix_draw()
 * that starts it until matrix_off(). While it is, matrix_sweeps() should be
 * climbing, and the watchdog (guard.h) is fed only if it is.
 */
bool matrix_running(void);

#endif /* MATRIX_H */
```

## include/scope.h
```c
/*
 * Copyright (c) 2026 Jim Wyatt
 * SPDX-License-Identifier: MIT
 *
 * The scope: a signal generator and an oscilloscope on one pin.
 *
 * PA4 (header A0) is dac1 output 1 and adc1 channel 9 at once. The DAC plays
 * a table out of it; the ADC samples the same pin in bursts, and the MCU
 * reads its own output back with no wire. Linux asks for a burst on the
 * shell (`app scope capture`) and collects the samples over the SPI link
 * (SPI_PROTO_SCOPE), because 8 KB is too much for the serial line.
 *
 * TWO HALVES
 * ----------
 * This file and scope.c are the arithmetic: the waveform tables, the timer
 * division that turns a rate into a prescaler and a reload, and the burst's
 * bookkeeping, which decides when a burst is whole and safe to hand out.
 * None of it touches hardware, so mcu/tests/scope/ runs it on native_sim.
 *
 * scope_hw.c is the hardware, and is register-level, because Zephyr's
 * drivers stop short of it: the STM32 DAC driver writes one value at a time,
 * with no trigger and no DMA, and the STM32 ADC driver starts every
 * conversion from software, so it has no timer trigger and its DMA mode
 * fetches one sequence at a time. scope_hw.c drives TIM6, TIM7, DAC1 and
 * ADC1 with STM32Cube LL, and moves the data with Zephyr's own GPDMA driver.
 * See boards/arduino_uno_q.overlay and app_proto.h.
 */

#ifndef SCOPE_H
#define SCOPE_H

#include <stdbool.h>
#include <stddef.h>
#include <stdint.h>
#include <zephyr/kernel.h>
#include <zephyr/spinlock.h>

#include "app_proto.h"

/* --- waveforms ------------------------------------------------------------ */

enum scope_wave {
	SCOPE_WAVE_OFF,
	SCOPE_WAVE_SINE,
	SCOPE_WAVE_TRIANGLE,
};

/** The name app_proto.h gives a wave: APP_SCOPE_WAVE_OFF, _SINE, _TRIANGLE. */
const char *scope_wave_name(enum scope_wave w);

/** The wave a name means. Returns 0, or -EINVAL for anything but sine and
 *  triangle: off is not something to generate. */
int scope_wave_parse(const char *name, enum scope_wave *out);

/** Fill APP_SCOPE_POINTS DAC codes for one period, starting at the middle
 *  and rising, as a sine does. 32-bit entries because the DAC's data
 *  register is a word and the DMA moves the same width at both ends.
 *  Returns 0, or -EINVAL for SCOPE_WAVE_OFF. */
int scope_wave_fill(enum scope_wave w, uint32_t *table);

/* --- timers ---------------------------------------------------------------- */

/* A 16-bit timer's division of its clock: it counts (psc + 1) * (arr + 1)
 * clock cycles per update. */
struct scope_div {
	uint32_t psc;
	uint32_t arr;
	uint64_t rate_mhz; /* the update rate it gives, in millihertz */
};

/** The division nearest to `rate_hz` updates a second from a `clk_hz` clock,
 *  with the prescaler as small as will do, for the finest step. Returns 0,
 *  or -EINVAL if rate_hz is 0 or above clk_hz / 2. */
int scope_timer_div(uint32_t clk_hz, uint32_t rate_hz, struct scope_div *out);

/* --- bursts ---------------------------------------------------------------- */

/*
 * One buffer of samples, written by DMA during a capture and read by the SPI
 * link's thread afterwards. A reader must never see a buffer the DMA is still
 * writing, nor one a failed capture left half written, nor half of one
 * capture and half of the next; the lock and the id are how.
 *
 *   begin   valid false, busy true: from here the DMA owns the buffer
 *   end     busy false; on success valid true and a new id
 *   read    copies out under the lock, only while valid and not busy, and
 *           only from the capture the reader names
 */
struct scope_burst {
	uint16_t *buf;
	uint16_t cap;
	uint16_t n;        /* samples in the capture now held, or being taken */
	uint32_t rate_mhz; /* its sample rate, in millihertz */
	uint32_t id;       /* the last good capture, 1, 2, ...; 0 before any */
	uint32_t errors;   /* captures that failed */
	bool busy;
	bool valid;
	struct k_spinlock lock;
};

/* What scope_burst_read() says about the capture it read from. */
struct scope_chunk {
	uint32_t id;
	uint32_t rate_mhz;
	uint16_t n;      /* samples in the whole capture */
	uint16_t offset; /* of the first one copied */
	uint16_t count;  /* copied */
};

/* One consistent look at a burst, for `app scope stat`. */
struct scope_burst_info {
	uint32_t id;
	uint32_t rate_mhz;
	uint32_t errors;
	uint16_t n;
	bool busy;
	bool valid;
};

/** An empty burst over buf[0..cap). */
void scope_burst_init(struct scope_burst *b, uint16_t *buf, uint16_t cap);

/** Claim the buffer for a capture of n samples at rate_mhz. Returns 0, or
 *  -EINVAL if n is 0 or over the capacity, or -EBUSY during another
 *  capture. */
int scope_burst_begin(struct scope_burst *b, uint16_t n, uint32_t rate_mhz);

/** The capture is over: the DMA has stopped writing. On success the burst
 *  becomes readable under the next id, which skips 0 when it wraps; on
 *  failure it is not readable at all, and the failure is counted. Returns
 *  the new id, or 0 for a failure. */
uint32_t scope_burst_end(struct scope_burst *b, bool ok);

/** Copy up to `max` samples, from `offset` on, of capture `id` (0: whichever
 *  is held) into out, and describe them in *c.
 *
 * Returns 0 - count may be 0, at offset == n - or:
 *   -EBUSY    a capture is running
 *   -ENODATA  there is no good capture
 *   -ESTALE   the capture held is not `id`; c->id says which it is
 *   -ERANGE   offset is past the end; c->n says where that is
 */
int scope_burst_read(struct scope_burst *b, uint32_t id, uint16_t offset, uint16_t *out,
		     uint16_t max, struct scope_chunk *c);

/** The burst's state, all of it under the lock. */
struct scope_burst_info scope_burst_info(struct scope_burst *b);

/** The smallest, largest and mean (rounded down) of n samples; all 0 when n
 *  is 0. */
void scope_summary(const uint16_t *s, size_t n, uint16_t *min, uint16_t *max, uint16_t *mean);

/* --- the firmware's ------------------------------------------------------- */

/* scope_hw.c's burst, for the SPI link's SCOPE service. */
struct scope_burst *scope_burst_get(void);

/* adc1 is shared: the die temperature reads it through Zephyr's ADC driver,
 * and a capture takes it over at the register level. Whoever touches it
 * holds this. Defined in scope_hw.c; main.c's read_die_temp() takes it. */
extern struct k_mutex adc1_lock;

#endif /* SCOPE_H */
```

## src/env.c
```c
/*
 * Copyright (c) 2026 Jim Wyatt
 * SPDX-License-Identifier: MIT
 *
 * `app env`'s pure half: what the BME680 driver hands back, turned into the
 * line Linux reads. See env.h, and APP_ENV_FMT in app_proto.h.
 *
 * Compiled twice: into the firmware, and by mcu/tests/env/ for native_sim.
 */
#include <errno.h>
#include <stdio.h>

#include "app_proto.h"
#include "env.h"

/* A sensor_value is val1 whole units and val2 millionths, both carrying the
 * sign. Scaled by 1000 - degrees to millidegrees, percent to thousandths of
 * one, kilopascals to pascals - into an int64, so nothing can overflow before
 * the range check. val2 / 1000 truncates toward zero, which drops nothing:
 * the driver never gives these channels a finer resolution than that. */
static int64_t milli(const struct sensor_value *v)
{
	return (int64_t)v->val1 * 1000 + v->val2 / 1000;
}

int env_from_values(const struct sensor_value *temp, const struct sensor_value *humidity,
		    const struct sensor_value *press, const struct sensor_value *gas,
		    struct env_reading *out)
{
	int64_t temp_mc = milli(temp);
	int64_t humidity_mpct = milli(humidity);
	int64_t pressure_pa = milli(press);
	/* Ohms are whole: the driver puts the resistance in val1 and 0 in val2. */
	int64_t gas_ohm = gas->val1;

	if (temp_mc < INT32_MIN || temp_mc > INT32_MAX) {
		return -ERANGE;
	}
	if (humidity_mpct < 0 || humidity_mpct > APP_ENV_HUMIDITY_MPCT_MAX) {
		return -ERANGE;
	}
	if (pressure_pa < 0 || pressure_pa > UINT32_MAX || gas_ohm < 0) {
		return -ERANGE;
	}

	out->temp_mc = (int32_t)temp_mc;
	out->humidity_mpct = (uint32_t)humidity_mpct;
	out->pressure_pa = (uint32_t)pressure_pa;
	out->gas_ohm = (uint32_t)gas_ohm;
	return 0;
}

int env_format(const struct env_reading *r, char *buf, size_t len)
{
	int n = snprintf(buf, len, APP_ENV_FMT, (int)r->temp_mc, (unsigned int)r->humidity_mpct,
			 (unsigned int)r->pressure_pa, (unsigned int)r->gas_ohm);

	if (n < 0 || (size_t)n >= len) {
		if (len > 0) {
			buf[0] = '\0';
		}
		return -ENOSPC;
	}
	return n;
}
```
